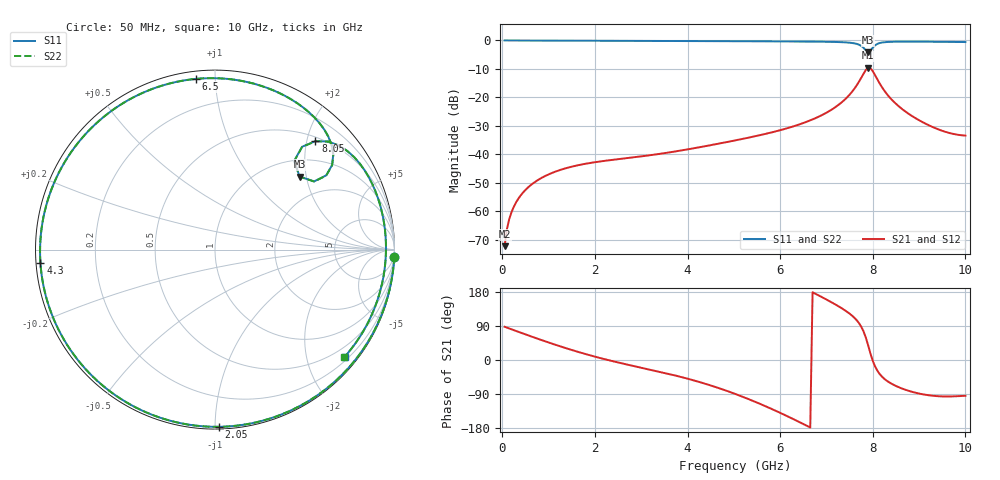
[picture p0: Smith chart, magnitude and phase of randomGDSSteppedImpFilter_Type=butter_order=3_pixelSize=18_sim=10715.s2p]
! freq	dB(S11)	phase(S11)	dB(S12)	phase(S12)
!  dB(S21)	phase(S21)	dB(S22)	phase(S22)
!S-par simulation data
#  GHz  S  DB  R 50
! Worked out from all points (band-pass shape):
!   200 points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, 50 MHz to 10 GHz, reference 50 ohm
!   highest |S21| = -9.57 dB at 7.9 GHz (marker M1); lowest = -72.3 dB at 50 MHz (marker M2)
!   |S21| within 3 dB of the highest: 7.769 GHz to 8.062 GHz (292.7 MHz wide, 3.7 % of centre)
!   lowest |S11| = -4.1 dB at 7.9 GHz (marker M3), VSWR 4.30, Z = 68.8 + j91.5 ohm
!   |S11| at or under -10 dB: nowhere
!   |S22| runs from -4.1 to 0.0 dB; largest |S21 - S12| = 0
!   S11 on the Smith chart (normalised r, x): 50 MHz: 0, -50; 2.05 GHz: 0.01, -1.02; 4.3 GHz: 0.01, -0.04; 6.5 GHz: 0.04, +0.89; 8.05 GHz: 0.58, +2.16; 10 GHz: 0.28, -2.75
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0.05  -0.00 -2.3  -72.30 87.6  -72.30 87.6  -0.00 -2.3
0.1  -0.00 -4.5  -66.29 85.4  -66.29 85.4  -0.00 -4.6
0.2  -0.01 -9.1  -60.31 80.9  -60.31 80.9  -0.01 -9.1
0.5  -0.03 -22.5  -52.53 67.6  -52.53 67.6  -0.03 -22.5
1  -0.06 -44.6  -47.07 46.2  -47.07 46.2  -0.06 -44.6
1.75  -0.09 -76.5  -43.48 17.4  -43.48 17.4  -0.09 -76.5
2.05  -0.11 -88.8  -42.67 7.2  -42.67 7.2  -0.11 -88.8
2.7  -0.14 -114.6  -41.33 -12.1  -41.33 -12.1  -0.14 -114.6
3.4  -0.17 -141.5  -39.86 -31.2  -39.86 -31.2  -0.17 -141.5
4.3  -0.22 -175.5  -37.41 -59.7  -37.41 -59.7  -0.22 -175.5
5.05  -0.26 155.7  -35.06 -90.5  -35.06 -90.5  -0.26 155.7
5.85  -0.32 123.8  -32.18 -131.0  -32.18 -131.0  -0.32 123.7
6.5  -0.38 96.5  -29.02 -168.9  -29.02 -168.9  -0.38 96.5
6.7  -0.41 87.9  -27.75 178.8  -27.75 178.8  -0.41 87.8
7.2  -0.53 65.3  -23.36 146.0  -23.36 146.0  -0.53 65.3
7.6  -1.00 44.8  -17.02 111.8  -17.02 111.8  -1.00 44.7
7.75  -1.90 35.8  -13.13 88.1  -13.13 88.1  -1.90 35.7
7.9  -4.11 40.8  -9.57 38.8  -9.57 38.8  -4.12 40.7
8.05  -1.69 47.2  -12.23 -17.0  -12.23 -17.0  -1.69 47.2
8.35  -0.50 27.9  -19.74 -58.6  -19.74 -58.6  -0.50 27.8
9.1  -0.43 -5.6  -28.92 -91.0  -28.92 -91.0  -0.43 -5.7
10  -0.56 -39.6  -33.43 -94.4  -33.43 -94.4  -0.56 -39.8
